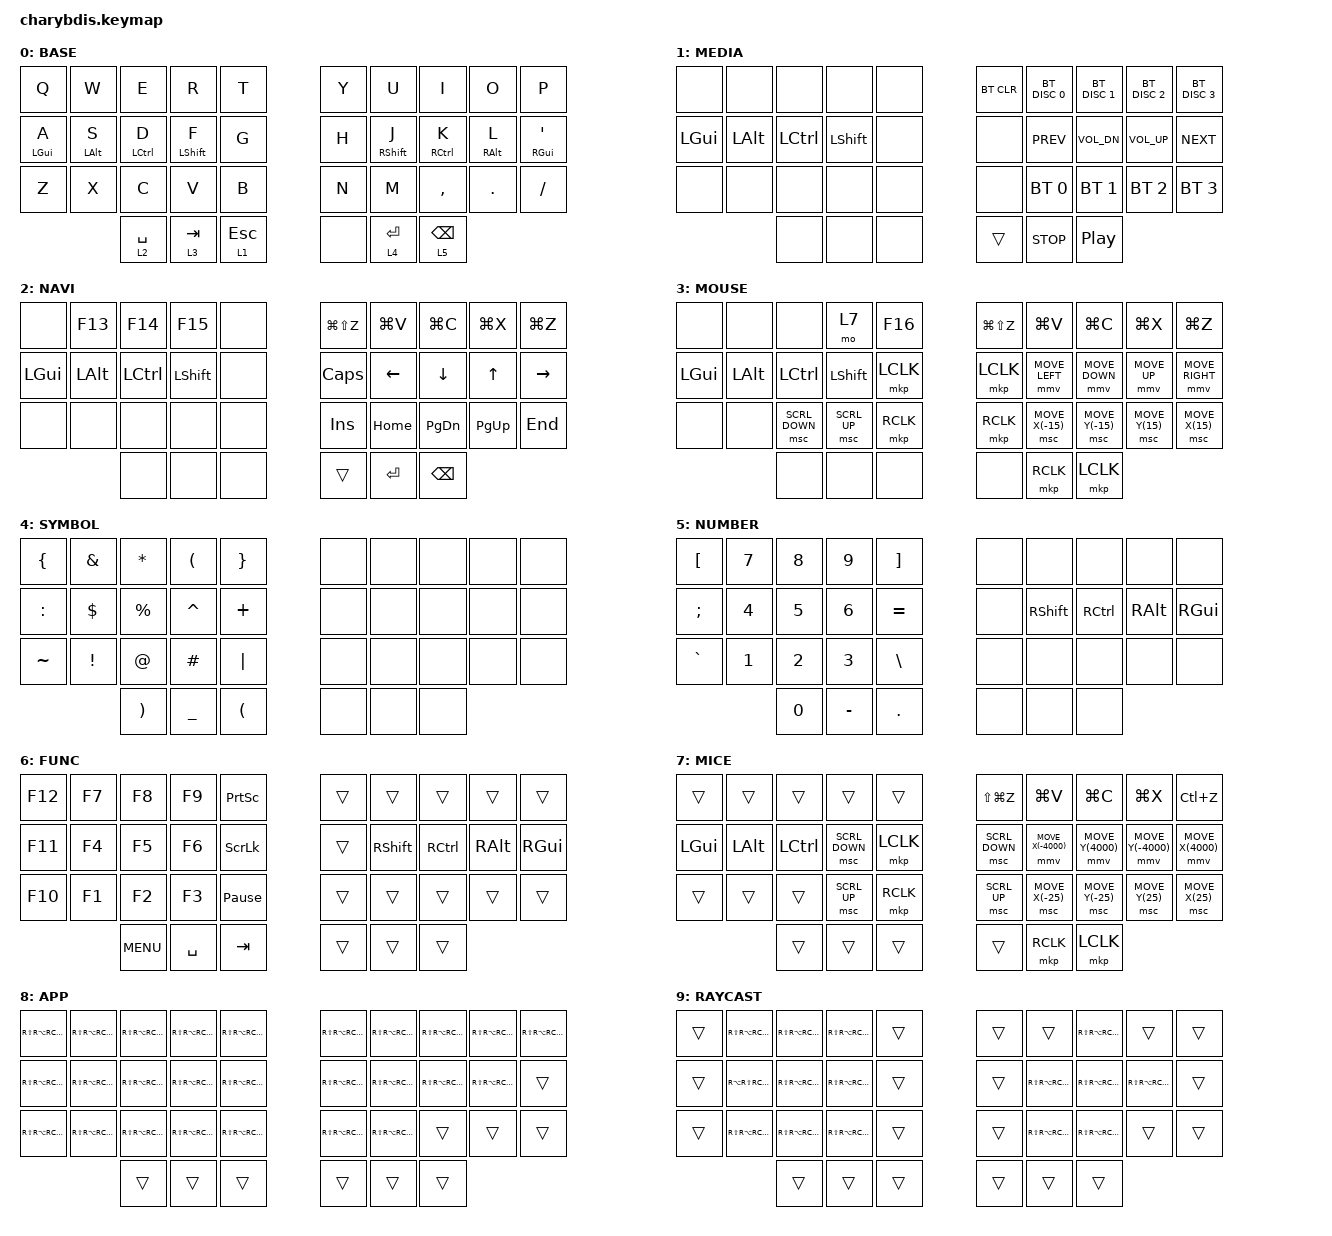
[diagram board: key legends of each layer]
#include <behaviors/mouse_keys.dtsi>
#include <dt-bindings/zmk/mouse.h>
#include "pointing_config.h"
#include <behaviors.dtsi>
#include <dt-bindings/zmk/bt.h>
#include <dt-bindings/zmk/keys.h>
#include <dt-bindings/zmk/pointing.h>

&mt {
    quick-tap-ms = <100>;
    global-quick-tap;
    flavor = "tap-preferred";
    tapping-term-ms = <170>;
};

/ {
    combos {
        compatible = "zmk,combos";

        app_layer_combo {
            bindings = <&mo 8>;
            key-positions = <32 30>;
        };

        ray_layer_combo {
            bindings = <&mo 9>;
            key-positions = <30 31>;
        };

        function_combo {
            bindings = <&mo 6>;
            key-positions = <35 34>;
        };
    };

    macros {
        gif: gif {
            label = "giphy";
            compatible = "zmk,behavior-macro";
            #binding-cells = <0>;
            bindings =
                <&macro_press>,
                <&kp LSHFT>,
                <&macro_tap>,
                <&kp N2>,
                <&macro_release>,
                <&kp LSHFT>,
                <&macro_tap>,
                <&kp G &kp I &kp F>;
        };
    };

    keymap {
        compatible = "zmk,keymap";

        BASE {
            label = "BASE";
            // ┌─────┬─────┬─────┬─────┬─────┐   ┌─────┬─────┬─────┬─────┬─────┐
            // │  Q  │  W  │  E  │  R  │  T  │   │  Y  │  U  │  I  │  O  │  P  │
            // ├─────┼─────┼─────┼─────┼─────┤   ├─────┼─────┼─────┼─────┼─────┤
            // │ GUI │ ALT │ CTRL│SHIFT│  G  │   │  H  │SHIFT│ CTRL│ ALT │ GUI │
            // ├─────┼─────┼─────┼─────┼─────┤   ├─────┼─────┼─────┼─────┼─────┤
            // │  Z  │  X  │  C  │  V  │  B  │   │  N  │  M  │  ,  │  .  │  /  │
            // └─────┴─────┴─────┴─────┴─────┘   └─────┴─────┴─────┴─────┴─────┘
            //              ┌─────┬─────┬─────┐   ┌─────┬─────┬─────┐
            //              │ ESC │ SPC │ TAB │   │ ENT │ BSP │     │
            //              └─────┴─────┴─────┘   └─────┴─────┴─────┘
            bindings = <
&kp Q        &kp W       &kp E        &kp R        &kp T        &kp Y            &kp U        &kp I        &kp O       &kp P
&mt LGUI A   &mt LALT S  &mt LCTRL D  &mt LSHFT F  &kp G        &kp H            &mt RSHFT J  &mt RCTRL K  &mt RALT L  &mt RGUI SQT
&kp Z        &kp X       &kp C        &kp V        &kp B        &kp N            &kp M        &kp COMMA    &kp PERIOD  &kp SLASH
&lt 2 SPACE  &lt 3 TAB   &lt 1 ESC    &none        &lt 4 ENTER  &lt 5 BACKSPACE
            >;
        };

        MEDIA {
            label = "MEDIA";
            // ┌─────┬─────┬─────┬─────┬─────┐   ┌─────┬─────┬─────┬─────┬─────┐
            // │     │     │     │     │     │   │ BTCL│BTD 0│BTD 1│BTD 2│BTD 3│
            // ├─────┼─────┼─────┼─────┼─────┤   ├─────┼─────┼─────┼─────┼─────┤
            // │ GUI │ ALT │ CTRL│SHIFT│     │   │     │ PREV│ VOL-│ VOL+│ NEXT│
            // ├─────┼─────┼─────┼─────┼─────┤   ├─────┼─────┼─────┼─────┼─────┤
            // │     │     │     │     │     │   │     │ BT 0│ BT 1│ BT 2│ BT 3│
            // └─────┴─────┴─────┴─────┴─────┘   └─────┴─────┴─────┴─────┴─────┘
            //              ┌─────┬─────┬─────┐   ┌─────┬─────┬─────┐
            //              │     │     │     │   │ STOP│PLAY │     │
            //              └─────┴─────┴─────┘   └─────┴─────┴─────┘
            bindings = <
&none         &none         &none      &none           &none       &bt BT_CLR  &bt BT_DISC 0  &bt BT_DISC 1  &bt BT_DISC 2    &bt BT_DISC 3
&kp LEFT_GUI  &kp LEFT_ALT  &kp LCTRL  &kp LEFT_SHIFT  &none       &none       &kp C_PREV     &kp C_VOL_DN   &kp C_VOLUME_UP  &kp C_NEXT
&none         &none         &none      &none           &none       &none       &bt BT_SEL 0   &bt BT_SEL 1   &bt BT_SEL 2     &bt BT_SEL 3
&none         &none         &none      &trans          &kp C_STOP  &kp C_PP
            >;
        };

        NAVI {
            label = "NAVI";
            // ┌─────┬─────┬─────┬─────┬─────┐   ┌─────┬─────┬─────┬─────┬─────┐
            // │     │ F13 │ F14 │ F15 │     │   │ UNDO│COPY │ CUT │ REDO│     │
            // ├─────┼─────┼─────┼─────┼─────┤   ├─────┼─────┼─────┼─────┼─────┤
            // │ GUI │ ALT │ CTRL│SHIFT│     │   │ CAPS│ LEFT│ DOWN│  UP │RGHT │
            // ├─────┼─────┼─────┼─────┼─────┤   ├─────┼─────┼─────┼─────┼─────┤
            // │     │     │     │     │     │   │ INS │ HOME│PGDN │PGUP │ END │
            // └─────┴─────┴─────┴─────┴─────┘   └─────┴─────┴─────┴─────┴─────┘
            //              ┌─────┬─────┬─────┐   ┌─────┬─────┬─────┐
            //              │     │     │     │   │ ENT │ BSP │     │
            //              └─────┴─────┴─────┘   └─────┴─────┴─────┘
            bindings = <
&none     &kp F13   &kp F14    &kp F15     &none      &kp LG(LS(Z))  &kp LG(V)  &kp LG(C)      &kp LG(X)     &kp LG(Z)
&kp LGUI  &kp LALT  &kp LCTRL  &kp LSHIFT  &none      &kp CAPSLOCK   &kp LEFT   &kp DOWN       &kp UP_ARROW  &kp RIGHT
&none     &none     &none      &none       &none      &kp INSERT     &kp HOME   &kp PAGE_DOWN  &kp PAGE_UP   &kp END
&none     &none     &none      &trans      &kp ENTER  &kp BACKSPACE
            >;
        };

        MOUSE {
            label = "MOUSE";
            // ┌─────┬─────┬─────┬─────┬─────┐   ┌─────┬─────┬─────┬─────┬─────┐
            // │     │     │     │ MO7 │ F16 │   │ UNDO│COPY │ CUT │ REDO│     │
            // ├─────┼─────┼─────┼─────┼─────┤   ├─────┼─────┼─────┼─────┼─────┤
            // │ GUI │ ALT │ CTRL│SHIFT│ LCLK│   │ LCLK│ LEFT│ DOWN│  UP │RGHT │
            // ├─────┼─────┼─────┼─────┼─────┤   ├─────┼─────┼─────┼─────┼─────┤
            // │     │     │SCR- │SCR+ │ RCLK│   │ RCLK│  ←  │  ↓  │  ↑  │  →  │
            // └─────┴─────┴─────┴─────┴─────┘   └─────┴─────┴─────┴─────┴─────┘
            //              ┌─────┬─────┬─────┐   ┌─────┬─────┬─────┐
            //              │     │     │     │   │ RCLK│ LCLK│     │
            //              └─────┴─────┴─────┘   └─────┴─────┴─────┘
            bindings = <
&none     &none         &none           &mo 7           &kp F16    &kp LG(LS(Z))  &kp LG(V)         &kp LG(C)         &kp LG(X)        &kp LG(Z)
&kp LGUI  &kp LEFT_ALT  &kp LCTRL       &kp LEFT_SHIFT  &mkp LCLK  &mkp LCLK      &mmv MOVE_LEFT    &mmv MOVE_DOWN    &mmv MOVE_UP     &mmv MOVE_RIGHT
&none     &none         &msc SCRL_DOWN  &msc SCRL_UP    &mkp RCLK  &mkp RCLK      &msc MOVE_X(-15)  &msc MOVE_Y(-15)  &msc MOVE_Y(15)  &msc MOVE_X(15)
&none     &none         &none           &none           &mkp RCLK  &mkp LCLK
            >;
        };

        SYMBOL {
            label = "SYMBOL";
            // ┌─────┬─────┬─────┬─────┬─────┐   ┌─────┬─────┬─────┬─────┬─────┐
            // │  {  │  &  │  *  │  (  │  }  │   │     │     │     │     │     │
            // ├─────┼─────┼─────┼─────┼─────┤   ├─────┼─────┼─────┼─────┼─────┤
            // │  :  │  $  │  %  │  ^  │  +  │   │     │     │     │     │     │
            // ├─────┼─────┼─────┼─────┼─────┤   ├─────┼─────┼─────┼─────┼─────┤
            // │  ~  │  !  │  @  │  #  │  |  │   │     │     │     │     │     │
            // └─────┴─────┴─────┴─────┴─────┘   └─────┴─────┴─────┴─────┴─────┘
            //              ┌─────┬─────┬─────┐   ┌─────┬─────┬─────┐
            //              │  (  │  )  │  _  │   │     │     │     │
            //              └─────┴─────┴─────┘   └─────┴─────┴─────┘
            bindings = <
&kp LEFT_BRACE         &kp AMPERSAND    &kp ASTERISK          &kp LEFT_PARENTHESIS  &kp RIGHT_BRACE  &none  &none  &none  &none  &none
&kp COLON              &kp DOLLAR       &kp PERCENT           &kp CARET             &kp PLUS         &none  &none  &none  &none  &none
&kp TILDE              &kp EXCLAMATION  &kp AT_SIGN           &kp HASH              &kp PIPE         &none  &none  &none  &none  &none
&kp RIGHT_PARENTHESIS  &kp UNDERSCORE   &kp LEFT_PARENTHESIS  &none                 &none            &none
            >;
        };

        NUMBER {
            label = "NUMBER";
            // ┌─────┬─────┬─────┬─────┬─────┐   ┌─────┬─────┬─────┬─────┬─────┐
            // │  [  │  7  │  8  │  9  │  ]  │   │     │     │     │     │     │
            // ├─────┼─────┼─────┼─────┼─────┤   ├─────┼─────┼─────┼─────┼─────┤
            // │  ;  │  4  │  5  │  6  │  =  │   │     │SHIFT│ CTRL│ ALT │ GUI │
            // ├─────┼─────┼─────┼─────┼─────┤   ├─────┼─────┼─────┼─────┼─────┤
            // │  `  │  1  │  2  │  3  │  \\  │   │     │     │     │     │     │
            // └─────┴─────┴─────┴─────┴─────┘   └─────┴─────┴─────┴─────┴─────┘
            //              ┌─────┬─────┬─────┐   ┌─────┬─────┬─────┐
            //              │  .  │  0  │  -  │   │     │     │     │
            //              └─────┴─────┴─────┘   └─────┴─────┴─────┘
            bindings = <
&kp LEFT_BRACKET  &kp N7     &kp N8      &kp N9  &kp RIGHT_BRACKET  &none  &none            &none      &none          &none
&kp SEMICOLON     &kp N4     &kp N5      &kp N6  &kp EQUAL          &none  &kp RIGHT_SHIFT  &kp RCTRL  &kp RIGHT_ALT  &kp RIGHT_GUI
&kp GRAVE         &kp N1     &kp N2      &kp N3  &kp BACKSLASH      &none  &none            &none      &none          &none
&kp N0            &kp MINUS  &kp PERIOD  &none   &none              &none
            >;
        };

        FUNC {
            label = "FUNC";
            // ┌─────┬─────┬─────┬─────┬─────┐   ┌─────┬─────┬─────┬─────┬─────┐
            // │ F12 │ F7  │ F8  │ F9  │ PRT │   │TRANS│TRANS│TRANS│TRANS│TRANS│
            // ├─────┼─────┼─────┼─────┼─────┤   ├─────┼─────┼─────┼─────┼─────┤
            // │ F11 │ F4  │ F5  │ F6  │ SCRL│   │TRANS│SHIFT│ CTRL│ ALT │ GUI │
            // ├─────┼─────┼─────┼─────┼─────┤   ├─────┼─────┼─────┼─────┼─────┤
            // │ F10 │ F1  │ F2  │ F3  │ PAUS│   │TRANS│TRANS│TRANS│TRANS│TRANS│
            // └─────┴─────┴─────┴─────┴─────┘   └─────┴─────┴─────┴─────┴─────┘
            //              ┌─────┬─────┬─────┐   ┌─────┬─────┬─────┐
            //              │ TAB │ MENU│ SPC │   │     │     │     │
            //              └─────┴─────┴─────┘   └─────┴─────┴─────┘
            bindings = <
&kp F12     &kp F7     &kp F8   &kp F9  &kp PRINTSCREEN  &trans  &trans           &trans     &trans         &trans
&kp F11     &kp F4     &kp F5   &kp F6  &kp SCROLLLOCK   &trans  &kp RIGHT_SHIFT  &kp RCTRL  &kp RIGHT_ALT  &kp RGUI
&kp F10     &kp F1     &kp F2   &kp F3  &kp PAUSE_BREAK  &trans  &trans           &trans     &trans         &trans
&kp K_MENU  &kp SPACE  &kp TAB  &trans  &trans           &trans
            >;
        };

        MICE {
            label = "MICE";
            // ┌─────┬─────┬─────┬─────┬─────┐   ┌─────┬─────┬─────┬─────┬─────┐
            // │TRANS│TRANS│TRANS│TRANS│TRANS│   │ UNDO│COPY │ CUT │ REDO│     │
            // ├─────┼─────┼─────┼─────┼─────┤   ├─────┼─────┼─────┼─────┼─────┤
            // │ GUI │ ALT │ CTRL│SCR- │ LCLK│   │SCR- │  ←  │  ↓  │  ↑  │  →  │
            // ├─────┼─────┼─────┼─────┼─────┤   ├─────┼─────┼─────┼─────┼─────┤
            // │TRANS│TRANS│TRANS│SCR+ │ RCLK│   │SCR+ │  ←  │  ↓  │  ↑  │  →  │
            // └─────┴─────┴─────┴─────┴─────┘   └─────┴─────┴─────┴─────┴─────┘
            //              ┌─────┬─────┬─────┐   ┌─────┬─────┬─────┐
            //              │TRANS│TRANS│TRANS│   │ RCLK│ LCLK│     │
            //              └─────┴─────┴─────┘   └─────┴─────┴─────┘
            bindings = <
&trans    &trans        &trans            &trans          &trans     &kp LS(LG(Z))   &kp LG(V)           &kp LG(C)          &kp LG(X)           &kp LC(Z)
&kp LGUI  &kp LEFT_ALT  &kp LEFT_CONTROL  &msc SCRL_DOWN  &mkp LCLK  &msc SCRL_DOWN  &mmv MOVE_X(-4000)  &mmv MOVE_Y(4000)  &mmv MOVE_Y(-4000)  &mmv MOVE_X(4000)
&trans    &trans        &trans            &msc SCRL_UP    &mkp RCLK  &msc SCRL_UP    &msc MOVE_X(-25)    &msc MOVE_Y(-25)   &msc MOVE_Y(25)     &msc MOVE_X(25)
&trans    &trans        &trans            &trans          &mkp RCLK  &mkp LCLK
            >;
        };

        APP {
            label = "APP";
            bindings = <
&kp RS(RA(RC(RG(Q))))  &kp RS(RA(RC(RG(W))))  &kp RS(RA(RC(RG(E))))  &kp RS(RA(RC(RG(R))))  &kp RS(RA(RC(RG(T))))  &kp RS(RA(RC(RG(Y))))  &kp RS(RA(RC(RG(U))))  &kp RS(RA(RC(RG(I))))  &kp RS(RA(RC(RG(O))))  &kp RS(RA(RC(RG(P))))
&kp RS(RA(RC(RG(A))))  &kp RS(RA(RC(RG(S))))  &kp RS(RA(RC(RG(D))))  &kp RS(RA(RC(RG(F))))  &kp RS(RA(RC(RG(G))))  &kp RS(RA(RC(RG(H))))  &kp RS(RA(RC(RG(J))))  &kp RS(RA(RC(RG(K))))  &kp RS(RA(RC(RG(L))))  &trans
&kp RS(RA(RC(RG(Z))))  &kp RS(RA(RC(RG(X))))  &kp RS(RA(RC(RG(C))))  &kp RS(RA(RC(RG(V))))  &kp RS(RA(RC(RG(B))))  &kp RS(RA(RC(RG(N))))  &kp RS(RA(RC(RG(M))))  &trans                 &trans                 &trans
&trans                 &trans                 &trans                 &trans                 &trans                 &trans
            >;
        };

        RAYCAST {
            label = "RAYCAST";
            bindings = <
&trans  &kp RS(RA(RC(RG(NUMBER_2))))  &kp RS(RA(RC(RG(NUMBER_3))))   &kp RS(RA(RC(RG(NUMBER_4))))  &trans  &trans  &trans                  &kp RS(RA(RC(RG(N7))))        &trans                  &trans
&trans  &kp RA(RS(RC(RG(F20))))       &kp RS(RA(RC(RG(SEMICOLON))))  &kp RS(RA(RC(RG(NUMBER_1))))  &trans  &trans  &kp RS(RA(RC(RG(N8))))  &kp RS(RA(RC(RG(N9))))        &kp RS(RA(RC(RG(N0))))  &trans
&trans  &kp RS(RA(RC(RG(F17))))       &kp RS(RA(RC(RG(F18))))        &kp RS(RA(RC(RG(F19))))       &trans  &trans  &kp RS(RA(RC(RG(N5))))  &kp RS(RA(RC(RG(NUMBER_6))))  &trans                  &trans
&trans  &trans                        &trans                         &trans                        &trans  &trans
            >;
        };
    };
};
